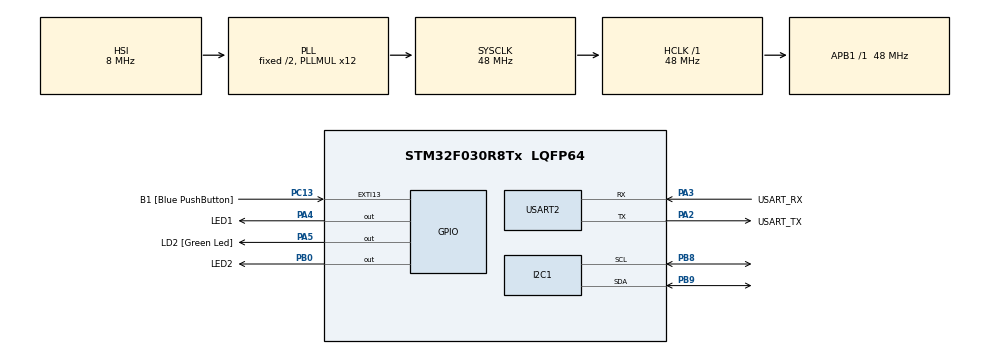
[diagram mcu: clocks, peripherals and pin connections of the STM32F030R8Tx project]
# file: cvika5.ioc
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Dma.Request0=USART2_RX
Dma.USART2_RX.0.Direction=DMA_PERIPH_TO_MEMORY
Dma.USART2_RX.0.Instance=DMA1_Channel5
Dma.USART2_RX.0.MemDataAlignment=DMA_MDATAALIGN_BYTE
Dma.USART2_RX.0.MemInc=DMA_MINC_ENABLE
Dma.USART2_RX.0.Mode=DMA_CIRCULAR
Dma.USART2_RX.0.PeriphDataAlignment=DMA_PDATAALIGN_BYTE
Dma.USART2_RX.0.PeriphInc=DMA_PINC_DISABLE
Dma.USART2_RX.0.Priority=DMA_PRIORITY_LOW
Mcu.Family=STM32F0
Mcu.Name=STM32F030R8Tx
Mcu.Package=LQFP64
NVIC.DMA1_Channel4_5_IRQn=true\:0\:0\:false\:false\:true\:false\:true\:true
PA13.GPIO_Label=TMS
PA13.Mode=Serial_Wire
PA13.Signal=SYS_SWDIO
PA14.GPIO_Label=TCK
PA14.Mode=Serial_Wire
PA14.Signal=SYS_SWCLK
PA2.GPIO_Label=USART_TX
PA2.GPIO_Mode=GPIO_MODE_AF_PP
PA2.GPIO_PuPd=GPIO_NOPULL
PA2.GPIO_Speed=GPIO_SPEED_FREQ_LOW
PA2.Mode=Asynchronous
PA2.Signal=USART2_TX
PA3.GPIO_Label=USART_RX
PA3.GPIO_Mode=GPIO_MODE_AF_PP
PA3.GPIO_PuPd=GPIO_NOPULL
PA3.GPIO_Speed=GPIO_SPEED_FREQ_LOW
PA3.Mode=Asynchronous
PA3.Signal=USART2_RX
PA4.GPIO_Label=LED1
PA4.Signal=GPIO_Output
PA5.GPIO_Label=LD2 [Green Led]
PA5.GPIO_Mode=GPIO_MODE_OUTPUT_PP
PA5.GPIO_PuPd=GPIO_NOPULL
PA5.GPIO_Speed=GPIO_SPEED_FREQ_LOW
PA5.Signal=GPIO_Output
PB0.GPIO_Label=LED2
PB0.Signal=GPIO_Output
PB8.Mode=I2C
PB8.Signal=I2C1_SCL
PB9.Mode=I2C
PB9.Signal=I2C1_SDA
PC13.GPIO_Label=B1 [Blue PushButton]
PC13.GPIO_ModeDefaultEXTI=GPIO_MODE_IT_FALLING
PC13.Signal=GPXTI13
PC14-OSC32_IN.Mode=LSE-External-Oscillator
PC14-OSC32_IN.Signal=RCC_OSC32_IN
PC15-OSC32_OUT.Mode=LSE-External-Oscillator
PC15-OSC32_OUT.Signal=RCC_OSC32_OUT
PF0-OSC_IN.Mode=HSE-External-Clock-Source
PF0-OSC_IN.Signal=RCC_OSC_IN
PF1-OSC_OUT.Signal=RCC_OSC_OUT
ProjectManager.HeapSize=0x200
ProjectManager.StackSize=0x400
ProjectManager.TargetToolchain=STM32CubeIDE
RCC.AHBFreq_Value=48000000
RCC.APB1Freq_Value=48000000
RCC.APB1TimFreq_Value=48000000
RCC.HCLKFreq_Value=48000000
RCC.PLLMUL=RCC_PLL_MUL12
RCC.SYSCLKFreq_VALUE=48000000
RCC.SYSCLKSource=RCC_SYSCLKSOURCE_PLLCLK
USART2.VirtualMode-Asynchronous=VM_ASYNC
board=NUCLEO-F030R8

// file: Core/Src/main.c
/* USER CODE BEGIN Header */
/**
 ******************************************************************************
 * @file           : main.c
 * @brief          : Main program body
 ******************************************************************************
 * @attention
 *
 * Copyright (c) 2024 STMicroelectronics.
 * All rights reserved.
 *
 * This software is licensed under terms that can be found in the LICENSE file
 * in the root directory of this software component.
 * If no LICENSE file comes with this software, it is provided AS-IS.
 *
 ******************************************************************************
 */
/* USER CODE END Header */
#include "main.h"

/* USER CODE BEGIN Includes */
#include <stdio.h>
#include <string.h>
#include <stdlib.h>

/* USER CODE END Includes */

/* USER CODE BEGIN PD */

#define RX_BUFFER_LEN 64
#define CMD_BUFFER_LEN 64
static uint8_t uart_rx_buf[RX_BUFFER_LEN];
static volatile uint16_t uart_rx_read_ptr = 0;
#define uart_rx_write_ptr (RX_BUFFER_LEN - hdma_usart2_rx.Instance->CNDTR)

#define EPROM_ADDR 0xA0

/* USER CODE END PD */

I2C_HandleTypeDef hi2c1;

UART_HandleTypeDef huart2;
DMA_HandleTypeDef hdma_usart2_rx;

void SystemClock_Config(void);
static void MX_GPIO_Init(void);
static void MX_DMA_Init(void);
static void MX_USART2_UART_Init(void);
static void MX_I2C1_Init(void);

/* USER CODE BEGIN 0 */

int _write(int file, char const *buf, int n){
	HAL_UART_Transmit(&huart2, (uint8_t*)buf, n, HAL_MAX_DELAY);
	return n;
}

void uart_process_command( char *data){
	char *token;
	static uint8_t stat_led_1 = 0;
	static uint8_t stat_led_2 = 0;
	token = strtok(data, " ");

	if (strcasecmp(token, "HELLO") == 0) {
		printf("Communication OK\n");

	} else if (strcasecmp(token, "LED1") == 0) {
		token = strtok(NULL, " ");

		if (strcasecmp(token, "ON") == 0) {
			stat_led_1 = 1;
			HAL_GPIO_WritePin(LED1_GPIO_Port, LED1_Pin, 1);

		} else if (strcasecmp(token, "OFF") == 0) {
			stat_led_1 = 0;
			HAL_GPIO_WritePin(LED1_GPIO_Port, LED1_Pin, 0);
		}

		printf("OK\n");

	}else if (strcasecmp(token, "LED2") == 0) {
		token = strtok(NULL, " ");

		if (strcasecmp(token, "ON") == 0) {
			HAL_GPIO_WritePin(LED2_GPIO_Port, LED2_Pin, 1);
			stat_led_2 = 1;

		} else if (strcasecmp(token, "OFF") == 0) {
			stat_led_2 = 0;
			HAL_GPIO_WritePin(LED2_GPIO_Port, LED2_Pin, 0);
		}

		printf("OK\n");
	}else if (strcasecmp(token, "STAT") == 0) {

		printf("LED1: '%d'\n", stat_led_1);
		printf("LED2: '%d'\n", stat_led_2);

	}else if (strcasecmp(token, "READ") == 0) {
		token = strtok(NULL, " ");
		uint8_t value;
		uint8_t addr = atoi(token);

		HAL_I2C_Mem_Read(&hi2c1, EPROM_ADDR, addr, I2C_MEMADD_SIZE_16BIT, &value, sizeof(value), 1000);
		printf(" '%d'\n", value);

	}
	else if (strcasecmp(token, "WRITE") == 0) {

		token = strtok(NULL, " ");
		uint8_t addr = atoi(token);

		token = strtok(NULL, " ");
		uint8_t value = atoi(token);

		HAL_I2C_Mem_Write(&hi2c1, EPROM_ADDR, addr, I2C_MEMADD_SIZE_16BIT, &value, sizeof(value), 1000);

		printf("Write OK\n");
	}
	else if (strcasecmp(token, "DUMP") == 0) {
		uint8_t value;
		for (uint8_t i = 0; i <= 0xF; ++i) {

			HAL_I2C_Mem_Read(&hi2c1, EPROM_ADDR, i, I2C_MEMADD_SIZE_16BIT, &value, sizeof(value), 1000);

			printf(" '%02x'", value);

			if (i==7) {
				printf("\n");
			}

		}
		printf("\n");

	}

	printf("buffer content: '%s'\n", data);
}

static void uart_byte_avilable(uint8_t c){
	static uint16_t cnt;
	static char data[CMD_BUFFER_LEN];

	if(cnt < CMD_BUFFER_LEN && c >= 32 && c <= 126){
		data[cnt++] = c;
	}
	if((c == '\n' || c == '\r' ) && cnt > 0){
		data[cnt] = '\0';
		cnt = 0;

		uart_process_command(data);
	}
}

/* USER CODE END 0 */

int main(void)
{

	/* MCU Configuration--------------------------------------------------------*/

	/* Reset of all peripherals, Initializes the Flash interface and the Systick. */
	HAL_Init();

	/* Configure the system clock */
	SystemClock_Config();

	/* Initialize all configured peripherals */
	MX_GPIO_Init();
	MX_DMA_Init();
	MX_USART2_UART_Init();
	MX_I2C1_Init();
	/* USER CODE BEGIN 2 */

	HAL_UART_Receive_DMA(&huart2, uart_rx_buf, RX_BUFFER_LEN);

	/* USER CODE END 2 */

	/* Infinite loop */
	/* USER CODE BEGIN WHILE */
	while (1)
	{
		//uint8_t c;
		//HAL_UART_Receive(&huart2, &c, sizeof(c), HAL_MAX_DELAY);
		//HAL_UART_Transmit(&huart2, &c, sizeof(c), HAL_MAX_DELAY);

		while(uart_rx_read_ptr != uart_rx_write_ptr){
			uint8_t b = uart_rx_buf[uart_rx_read_ptr];

			if (++uart_rx_read_ptr >= RX_BUFFER_LEN) {
				uart_rx_read_ptr = 0;
			}
			uart_byte_avilable(b);
		}

		/* USER CODE END WHILE */

	}
}

void SystemClock_Config(void)
{
	RCC_OscInitTypeDef RCC_OscInitStruct = {0};
	RCC_ClkInitTypeDef RCC_ClkInitStruct = {0};
	RCC_PeriphCLKInitTypeDef PeriphClkInit = {0};

	/** Initializes the RCC Oscillators according to the specified parameters
	 * in the RCC_OscInitTypeDef structure.
	 */
	RCC_OscInitStruct.OscillatorType = RCC_OSCILLATORTYPE_HSI;
	RCC_OscInitStruct.HSIState = RCC_HSI_ON;
	RCC_OscInitStruct.HSICalibrationValue = RCC_HSICALIBRATION_DEFAULT;
	RCC_OscInitStruct.PLL.PLLState = RCC_PLL_ON;
	RCC_OscInitStruct.PLL.PLLSource = RCC_PLLSOURCE_HSI;
	RCC_OscInitStruct.PLL.PLLMUL = RCC_PLL_MUL12;
	RCC_OscInitStruct.PLL.PREDIV = RCC_PREDIV_DIV1;
	if (HAL_RCC_OscConfig(&RCC_OscInitStruct) != HAL_OK)
	{
		Error_Handler();
	}

	/** Initializes the CPU, AHB and APB buses clocks
	 */
	RCC_ClkInitStruct.ClockType = RCC_CLOCKTYPE_HCLK|RCC_CLOCKTYPE_SYSCLK
			|RCC_CLOCKTYPE_PCLK1;
	RCC_ClkInitStruct.SYSCLKSource = RCC_SYSCLKSOURCE_PLLCLK;
	RCC_ClkInitStruct.AHBCLKDivider = RCC_SYSCLK_DIV1;
	RCC_ClkInitStruct.APB1CLKDivider = RCC_HCLK_DIV1;

	if (HAL_RCC_ClockConfig(&RCC_ClkInitStruct, FLASH_LATENCY_1) != HAL_OK)
	{
		Error_Handler();
	}
	PeriphClkInit.PeriphClockSelection = RCC_PERIPHCLK_I2C1;
	PeriphClkInit.I2c1ClockSelection = RCC_I2C1CLKSOURCE_HSI;
	if (HAL_RCCEx_PeriphCLKConfig(&PeriphClkInit) != HAL_OK)
	{
		Error_Handler();
	}
}

static void MX_I2C1_Init(void)
{

	hi2c1.Instance = I2C1;
	hi2c1.Init.Timing = 0x2000090E;
	hi2c1.Init.OwnAddress1 = 0;
	hi2c1.Init.AddressingMode = I2C_ADDRESSINGMODE_7BIT;
	hi2c1.Init.DualAddressMode = I2C_DUALADDRESS_DISABLE;
	hi2c1.Init.OwnAddress2 = 0;
	hi2c1.Init.OwnAddress2Masks = I2C_OA2_NOMASK;
	hi2c1.Init.GeneralCallMode = I2C_GENERALCALL_DISABLE;
	hi2c1.Init.NoStretchMode = I2C_NOSTRETCH_DISABLE;
	if (HAL_I2C_Init(&hi2c1) != HAL_OK)
	{
		Error_Handler();
	}

	/** Configure Analogue filter
	 */
	if (HAL_I2CEx_ConfigAnalogFilter(&hi2c1, I2C_ANALOGFILTER_ENABLE) != HAL_OK)
	{
		Error_Handler();
	}

	/** Configure Digital filter
	 */
	if (HAL_I2CEx_ConfigDigitalFilter(&hi2c1, 0) != HAL_OK)
	{
		Error_Handler();
	}

}

static void MX_USART2_UART_Init(void)
{

	huart2.Instance = USART2;
	huart2.Init.BaudRate = 38400;
	huart2.Init.WordLength = UART_WORDLENGTH_8B;
	huart2.Init.StopBits = UART_STOPBITS_1;
	huart2.Init.Parity = UART_PARITY_NONE;
	huart2.Init.Mode = UART_MODE_TX_RX;
	huart2.Init.HwFlowCtl = UART_HWCONTROL_NONE;
	huart2.Init.OverSampling = UART_OVERSAMPLING_16;
	huart2.Init.OneBitSampling = UART_ONE_BIT_SAMPLE_DISABLE;
	huart2.AdvancedInit.AdvFeatureInit = UART_ADVFEATURE_NO_INIT;
	if (HAL_UART_Init(&huart2) != HAL_OK)
	{
		Error_Handler();
	}

}

static void MX_DMA_Init(void)
{

	/* DMA controller clock enable */
	__HAL_RCC_DMA1_CLK_ENABLE();

	/* DMA interrupt init */
	/* DMA1_Channel4_5_IRQn interrupt configuration */
	HAL_NVIC_SetPriority(DMA1_Channel4_5_IRQn, 0, 0);
	HAL_NVIC_EnableIRQ(DMA1_Channel4_5_IRQn);

}

static void MX_GPIO_Init(void)
{
	GPIO_InitTypeDef GPIO_InitStruct = {0};

	/* GPIO Ports Clock Enable */
	__HAL_RCC_GPIOC_CLK_ENABLE();
	__HAL_RCC_GPIOF_CLK_ENABLE();
	__HAL_RCC_GPIOA_CLK_ENABLE();
	__HAL_RCC_GPIOB_CLK_ENABLE();

	/*Configure GPIO pin Output Level */
	HAL_GPIO_WritePin(GPIOA, LED1_Pin|LD2_Pin, GPIO_PIN_RESET);

	/*Configure GPIO pin Output Level */
	HAL_GPIO_WritePin(LED2_GPIO_Port, LED2_Pin, GPIO_PIN_RESET);

	/*Configure GPIO pin : B1_Pin */
	GPIO_InitStruct.Pin = B1_Pin;
	GPIO_InitStruct.Mode = GPIO_MODE_IT_FALLING;
	GPIO_InitStruct.Pull = GPIO_NOPULL;
	HAL_GPIO_Init(B1_GPIO_Port, &GPIO_InitStruct);

	/*Configure GPIO pins : LED1_Pin LD2_Pin */
	GPIO_InitStruct.Pin = LED1_Pin|LD2_Pin;
	GPIO_InitStruct.Mode = GPIO_MODE_OUTPUT_PP;
	GPIO_InitStruct.Pull = GPIO_NOPULL;
	GPIO_InitStruct.Speed = GPIO_SPEED_FREQ_LOW;
	HAL_GPIO_Init(GPIOA, &GPIO_InitStruct);

	/*Configure GPIO pin : LED2_Pin */
	GPIO_InitStruct.Pin = LED2_Pin;
	GPIO_InitStruct.Mode = GPIO_MODE_OUTPUT_PP;
	GPIO_InitStruct.Pull = GPIO_NOPULL;
	GPIO_InitStruct.Speed = GPIO_SPEED_FREQ_LOW;
	HAL_GPIO_Init(LED2_GPIO_Port, &GPIO_InitStruct);

}

void Error_Handler(void)
{
	__disable_irq();
	while (1)
	{
	}
}
